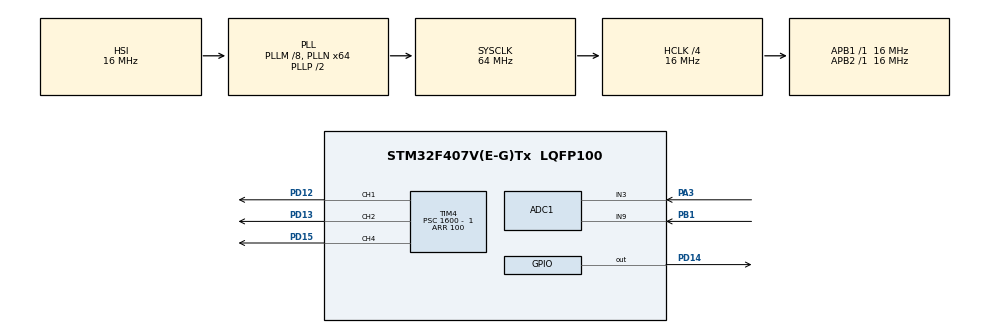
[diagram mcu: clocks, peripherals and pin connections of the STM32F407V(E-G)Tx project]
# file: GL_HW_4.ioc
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ADC1.Channel-0\#ChannelRegularConversion=ADC_CHANNEL_3
ADC1.Channel-5\#ChannelRegularConversion=ADC_CHANNEL_TEMPSENSOR
ADC1.Channel-6\#ChannelRegularConversion=ADC_CHANNEL_9
ADC1.ContinuousConvMode=ENABLE
ADC1.InjNumberOfConversion=0
ADC1.NbrOfConversion=3
ADC1.NbrOfConversionFlag=1
ADC1.Rank-0\#ChannelRegularConversion=1
ADC1.Rank-5\#ChannelRegularConversion=2
ADC1.Rank-6\#ChannelRegularConversion=3
ADC1.SamplingTime-0\#ChannelRegularConversion=ADC_SAMPLETIME_144CYCLES
ADC1.SamplingTime-5\#ChannelRegularConversion=ADC_SAMPLETIME_480CYCLES
ADC1.SamplingTime-6\#ChannelRegularConversion=ADC_SAMPLETIME_480CYCLES
ADC1.master=1
Mcu.Family=STM32F4
Mcu.Name=STM32F407V(E-G)Tx
Mcu.Package=LQFP100
NVIC.ADC_IRQn=true\:0\:0\:false\:false\:true\:true\:true\:true
NVIC.PriorityGroup=NVIC_PRIORITYGROUP_0
PA3.Signal=ADCx_IN3
PB1.Signal=ADCx_IN9
PD12.GPIO_PuPd=GPIO_PULLDOWN
PD12.Signal=S_TIM4_CH1
PD13.GPIO_PuPd=GPIO_PULLDOWN
PD13.Signal=S_TIM4_CH2
PD14.GPIO_PuPd=GPIO_PULLDOWN
PD14.Signal=GPIO_Output
PD15.GPIO_PuPd=GPIO_PULLDOWN
PD15.Signal=S_TIM4_CH4
ProjectManager.HeapSize=0x200
ProjectManager.StackSize=0x400
ProjectManager.TargetToolchain=STM32CubeIDE
RCC.48MHZClocksFreq_Value=18285714.285714287
RCC.AHBCLKDivider=RCC_SYSCLK_DIV4
RCC.AHBFreq_Value=16000000
RCC.APB1Freq_Value=16000000
RCC.APB1TimFreq_Value=16000000
RCC.APB2Freq_Value=16000000
RCC.APB2TimFreq_Value=16000000
RCC.CortexFreq_Value=16000000
RCC.HCLKFreq_Value=16000000
RCC.HSE_VALUE=8000000
RCC.HSI_VALUE=16000000
RCC.LSE_VALUE=32768
RCC.PLLM=8
RCC.PLLN=64
RCC.PLLQ=7
RCC.SYSCLKFreq_VALUE=64000000
RCC.SYSCLKSource=RCC_SYSCLKSOURCE_PLLCLK
RCC.VCOOutputFreq_Value=128000000
SH.ADCx_IN3.0=ADC1_IN3,IN3
SH.ADCx_IN9.0=ADC1_IN9,IN9
SH.S_TIM4_CH1.0=TIM4_CH1,PWM Generation1 CH1
SH.S_TIM4_CH2.0=TIM4_CH2,PWM Generation2 CH2
SH.S_TIM4_CH4.0=TIM4_CH4,PWM Generation4 CH4
TIM4.Channel-PWM\ Generation1\ CH1=TIM_CHANNEL_1
TIM4.Channel-PWM\ Generation2\ CH2=TIM_CHANNEL_2
TIM4.Channel-PWM\ Generation4\ CH4=TIM_CHANNEL_4
TIM4.Period=100
TIM4.Prescaler=1600 -  1
VP_ADC1_TempSens_Input.Mode=IN-TempSens
VP_TIM4_VS_ClockSourceINT.Mode=Internal
board=STM32F407G-DISC1

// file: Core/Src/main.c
/* USER CODE BEGIN Header */
/**
  ******************************************************************************
  * @file           : main.c
  * @brief          : Main program body
  ******************************************************************************
  * @attention
  *
  * Copyright (c) 2023 STMicroelectronics.
  * All rights reserved.
  *
  * This software is licensed under terms that can be found in the LICENSE file
  * in the root directory of this software component.
  * If no LICENSE file comes with this software, it is provided AS-IS.
  *
  ******************************************************************************
  */
/* USER CODE END Header */
#include "main.h"

/* USER CODE BEGIN Includes */
#define TIM4_CCR_MAX_VALUE 100
#define TIM4_CCR_MIN_VALUE 1
/* USER CODE END Includes */

ADC_HandleTypeDef hadc1;

TIM_HandleTypeDef htim4;

/* USER CODE BEGIN PV */
uint32_t adcPoolPotentiometerResult = 0;
uint32_t adcPotentiometerResult = 0;

uint32_t adcPoolInternalTempResult = 0;
uint32_t adcInternalTempResult = 0;

uint32_t adcPoolExternalTempResult = 0;
uint32_t adcExternalTempResult = 0;

uint32_t countOfEmergencies = 0;
uint32_t potentiometerEmergency = 0;
uint32_t internalTempEmergency = 0;
uint32_t externalTempEmergency = 0;
/* USER CODE END PV */

void SystemClock_Config(void);
static void MX_GPIO_Init(void);
static void MX_ADC1_Init(void);
static void MX_TIM4_Init(void);
/* USER CODE BEGIN PFP */
void Start_All_PWM_CH(void);
void Stop_All_PWM_CH(void);
void Check_For_Emergencies(void);
void Modify_All_Common_PWM_CH(void);
/* USER CODE END PFP */

int main(void)
{

  /* MCU Configuration--------------------------------------------------------*/

  /* Reset of all peripherals, Initializes the Flash interface and the Systick. */
  HAL_Init();

  /* Configure the system clock */
  SystemClock_Config();

  /* Initialize all configured peripherals */
  MX_GPIO_Init();
  MX_ADC1_Init();
  MX_TIM4_Init();
  /* USER CODE BEGIN 2 */
  HAL_TIM_PWM_Start(&htim4, TIM_CHANNEL_1);
  HAL_TIM_PWM_Start(&htim4, TIM_CHANNEL_2);
  HAL_TIM_PWM_Start(&htim4, TIM_CHANNEL_4);

  uint32_t currentTick = 0;
  uint32_t previousTickADC = 0;
  uint32_t previousTickEmergency = 0;
  uint32_t previousTickEmergencyLED = 0;
  /* USER CODE END 2 */

  /* Infinite loop */
  /* USER CODE BEGIN WHILE */
  while (1)
  {
	  currentTick = HAL_GetTick();

	  if (currentTick - previousTickADC >= 10)
	  {
		 HAL_ADC_Start_IT(&hadc1);
		 Modify_All_Common_PWM_CH();
		 previousTickADC = currentTick;
	  }

	  if (currentTick - previousTickEmergency >= 500)
	  {
		 Check_For_Emergencies();
		 previousTickEmergency = currentTick;
	  }

	  switch(countOfEmergencies)
	  {
	  	  case 1:
	  		  if (currentTick - previousTickEmergencyLED >= 1000)
	  		  {
	  			  HAL_GPIO_TogglePin(GPIOD, GPIO_PIN_14);
	  			  previousTickEmergencyLED = currentTick;
	  		  }
	  		  break;

	  	  case 2:
	  		  if (currentTick - previousTickEmergencyLED >= 400)
	  		  {
	  			  HAL_GPIO_TogglePin(GPIOD, GPIO_PIN_14);
	  			  previousTickEmergencyLED = currentTick;
	  		  }
	  		  break;

	  	  case 3:
	  		  if (currentTick - previousTickEmergencyLED >= 200)
	  		  {
	  			  HAL_GPIO_TogglePin(GPIOD, GPIO_PIN_14);
	  			  previousTickEmergencyLED = currentTick;
	  		  }
	  		  break;

	  	  default:
	  		HAL_GPIO_WritePin(GPIOD, GPIO_PIN_14, GPIO_PIN_RESET);
	  }

    /* USER CODE END WHILE */

  }
}

void SystemClock_Config(void)
{
  RCC_OscInitTypeDef RCC_OscInitStruct = {0};
  RCC_ClkInitTypeDef RCC_ClkInitStruct = {0};

  /** Configure the main internal regulator output voltage
  */
  __HAL_RCC_PWR_CLK_ENABLE();
  __HAL_PWR_VOLTAGESCALING_CONFIG(PWR_REGULATOR_VOLTAGE_SCALE1);

  /** Initializes the RCC Oscillators according to the specified parameters
  * in the RCC_OscInitTypeDef structure.
  */
  RCC_OscInitStruct.OscillatorType = RCC_OSCILLATORTYPE_HSI;
  RCC_OscInitStruct.HSIState = RCC_HSI_ON;
  RCC_OscInitStruct.HSICalibrationValue = RCC_HSICALIBRATION_DEFAULT;
  RCC_OscInitStruct.PLL.PLLState = RCC_PLL_ON;
  RCC_OscInitStruct.PLL.PLLSource = RCC_PLLSOURCE_HSI;
  RCC_OscInitStruct.PLL.PLLM = 8;
  RCC_OscInitStruct.PLL.PLLN = 64;
  RCC_OscInitStruct.PLL.PLLP = RCC_PLLP_DIV2;
  RCC_OscInitStruct.PLL.PLLQ = 7;
  if (HAL_RCC_OscConfig(&RCC_OscInitStruct) != HAL_OK)
  {
    Error_Handler();
  }

  /** Initializes the CPU, AHB and APB buses clocks
  */
  RCC_ClkInitStruct.ClockType = RCC_CLOCKTYPE_HCLK|RCC_CLOCKTYPE_SYSCLK
                              |RCC_CLOCKTYPE_PCLK1|RCC_CLOCKTYPE_PCLK2;
  RCC_ClkInitStruct.SYSCLKSource = RCC_SYSCLKSOURCE_PLLCLK;
  RCC_ClkInitStruct.AHBCLKDivider = RCC_SYSCLK_DIV4;
  RCC_ClkInitStruct.APB1CLKDivider = RCC_HCLK_DIV1;
  RCC_ClkInitStruct.APB2CLKDivider = RCC_HCLK_DIV1;

  if (HAL_RCC_ClockConfig(&RCC_ClkInitStruct, FLASH_LATENCY_0) != HAL_OK)
  {
    Error_Handler();
  }
}

static void MX_ADC1_Init(void)
{

  ADC_ChannelConfTypeDef sConfig = {0};

  /** Configure the global features of the ADC (Clock, Resolution, Data Alignment and number of conversion)
  */
  hadc1.Instance = ADC1;
  hadc1.Init.ClockPrescaler = ADC_CLOCK_SYNC_PCLK_DIV2;
  hadc1.Init.Resolution = ADC_RESOLUTION_12B;
  hadc1.Init.ScanConvMode = ENABLE;
  hadc1.Init.ContinuousConvMode = ENABLE;
  hadc1.Init.DiscontinuousConvMode = DISABLE;
  hadc1.Init.ExternalTrigConvEdge = ADC_EXTERNALTRIGCONVEDGE_NONE;
  hadc1.Init.ExternalTrigConv = ADC_SOFTWARE_START;
  hadc1.Init.DataAlign = ADC_DATAALIGN_RIGHT;
  hadc1.Init.NbrOfConversion = 3;
  hadc1.Init.DMAContinuousRequests = DISABLE;
  hadc1.Init.EOCSelection = ADC_EOC_SINGLE_CONV;
  if (HAL_ADC_Init(&hadc1) != HAL_OK)
  {
    Error_Handler();
  }

  /** Configure for the selected ADC regular channel its corresponding rank in the sequencer and its sample time.
  */
  sConfig.Channel = ADC_CHANNEL_3;
  sConfig.Rank = 1;
  sConfig.SamplingTime = ADC_SAMPLETIME_144CYCLES;
  if (HAL_ADC_ConfigChannel(&hadc1, &sConfig) != HAL_OK)
  {
    Error_Handler();
  }

  /** Configure for the selected ADC regular channel its corresponding rank in the sequencer and its sample time.
  */
  sConfig.Channel = ADC_CHANNEL_TEMPSENSOR;
  sConfig.Rank = 2;
  sConfig.SamplingTime = ADC_SAMPLETIME_480CYCLES;
  if (HAL_ADC_ConfigChannel(&hadc1, &sConfig) != HAL_OK)
  {
    Error_Handler();
  }

  /** Configure for the selected ADC regular channel its corresponding rank in the sequencer and its sample time.
  */
  sConfig.Channel = ADC_CHANNEL_9;
  sConfig.Rank = 3;
  if (HAL_ADC_ConfigChannel(&hadc1, &sConfig) != HAL_OK)
  {
    Error_Handler();
  }

}

static void MX_TIM4_Init(void)
{

  TIM_ClockConfigTypeDef sClockSourceConfig = {0};
  TIM_MasterConfigTypeDef sMasterConfig = {0};
  TIM_OC_InitTypeDef sConfigOC = {0};

  htim4.Instance = TIM4;
  htim4.Init.Prescaler = 1600 - 1;
  htim4.Init.CounterMode = TIM_COUNTERMODE_UP;
  htim4.Init.Period = 100;
  htim4.Init.ClockDivision = TIM_CLOCKDIVISION_DIV1;
  htim4.Init.AutoReloadPreload = TIM_AUTORELOAD_PRELOAD_DISABLE;
  if (HAL_TIM_Base_Init(&htim4) != HAL_OK)
  {
    Error_Handler();
  }
  sClockSourceConfig.ClockSource = TIM_CLOCKSOURCE_INTERNAL;
  if (HAL_TIM_ConfigClockSource(&htim4, &sClockSourceConfig) != HAL_OK)
  {
    Error_Handler();
  }
  if (HAL_TIM_PWM_Init(&htim4) != HAL_OK)
  {
    Error_Handler();
  }
  sMasterConfig.MasterOutputTrigger = TIM_TRGO_RESET;
  sMasterConfig.MasterSlaveMode = TIM_MASTERSLAVEMODE_DISABLE;
  if (HAL_TIMEx_MasterConfigSynchronization(&htim4, &sMasterConfig) != HAL_OK)
  {
    Error_Handler();
  }
  sConfigOC.OCMode = TIM_OCMODE_PWM1;
  sConfigOC.Pulse = 0;
  sConfigOC.OCPolarity = TIM_OCPOLARITY_HIGH;
  sConfigOC.OCFastMode = TIM_OCFAST_DISABLE;
  if (HAL_TIM_PWM_ConfigChannel(&htim4, &sConfigOC, TIM_CHANNEL_1) != HAL_OK)
  {
    Error_Handler();
  }
  if (HAL_TIM_PWM_ConfigChannel(&htim4, &sConfigOC, TIM_CHANNEL_2) != HAL_OK)
  {
    Error_Handler();
  }
  if (HAL_TIM_PWM_ConfigChannel(&htim4, &sConfigOC, TIM_CHANNEL_4) != HAL_OK)
  {
    Error_Handler();
  }
  HAL_TIM_MspPostInit(&htim4);

}

static void MX_GPIO_Init(void)
{
  GPIO_InitTypeDef GPIO_InitStruct = {0};

  /* GPIO Ports Clock Enable */
  __HAL_RCC_GPIOA_CLK_ENABLE();
  __HAL_RCC_GPIOB_CLK_ENABLE();
  __HAL_RCC_GPIOD_CLK_ENABLE();

  /*Configure GPIO pin Output Level */
  HAL_GPIO_WritePin(GPIOD, GPIO_PIN_14, GPIO_PIN_RESET);

  /*Configure GPIO pin : PD14 */
  GPIO_InitStruct.Pin = GPIO_PIN_14;
  GPIO_InitStruct.Mode = GPIO_MODE_OUTPUT_PP;
  GPIO_InitStruct.Pull = GPIO_PULLDOWN;
  GPIO_InitStruct.Speed = GPIO_SPEED_FREQ_LOW;
  HAL_GPIO_Init(GPIOD, &GPIO_InitStruct);

}

/* USER CODE BEGIN 4 */
void Start_All_PWM_CH(void)
{
	HAL_TIM_PWM_Start(&htim4, TIM_CHANNEL_1);
	HAL_TIM_PWM_Start(&htim4, TIM_CHANNEL_2);
	HAL_TIM_PWM_Start(&htim4, TIM_CHANNEL_4);
}

void Stop_All_PWM_CH(void)
{
	HAL_TIM_PWM_Stop(&htim4, TIM_CHANNEL_1);
	HAL_TIM_PWM_Stop(&htim4, TIM_CHANNEL_2);
	HAL_TIM_PWM_Stop(&htim4, TIM_CHANNEL_4);
}

void Check_For_Emergencies(void)
{
		// Checking Potentiometer value for possible emergency
		if (adcPotentiometerResult >= 2000)
		{
			if (countOfEmergencies < 3 && potentiometerEmergency == 0)
			{
				countOfEmergencies += 1;
				potentiometerEmergency = 1;
			}
		}
		else
		{
			if (countOfEmergencies > 0 && potentiometerEmergency == 1)
			{
				countOfEmergencies -= 1;
				potentiometerEmergency = 0;
			}
		}

		// Checking Potentiometer value for possible emergency
		if (adcInternalTempResult >= 1100)
		{
			if (countOfEmergencies < 3 && internalTempEmergency == 0)
			{
				countOfEmergencies += 1;
				internalTempEmergency = 1;
			}
		}
		else
		{
			if (countOfEmergencies > 0 && internalTempEmergency == 1)
			{
				countOfEmergencies -= 1;
				internalTempEmergency = 0;
			}
		}

		// Setting intensity for LED which is controlled by External Temperature Sensor. Checking for emergency
		if (adcExternalTempResult <= 1296)
		{
			if (countOfEmergencies < 3 && externalTempEmergency == 0)
			{
				countOfEmergencies += 1;
				externalTempEmergency = 1;
			}
		}
		else
		{
			if (countOfEmergencies > 0 && externalTempEmergency == 1)
			{
				countOfEmergencies -= 1;
				externalTempEmergency = 0;
			}
		}
}

void Modify_All_Common_PWM_CH(void)
{
	Stop_All_PWM_CH();
	Start_All_PWM_CH();

	// Setting intensity for LED which is controlled by Potentiometer. Checking for emergency
	TIM4->CCR4 = (adcPotentiometerResult * 100) / 4096;

	// Setting intensity for LED which is controlled by Internal Temperature Sensor. Checking for emergency
	if (adcInternalTempResult <= 1020)
	{
		TIM4->CCR2 = TIM4_CCR_MIN_VALUE;
	}
	else if (adcInternalTempResult >= 1100)
	{
		TIM4->CCR2 = TIM4_CCR_MAX_VALUE;
	}
	else
	{
		TIM4->CCR2 = ((adcInternalTempResult - 1020) * 100) / 100;
	}

	// Setting intensity for LED which is controlled by External Temperature Sensor. Checking for emergency
	if (adcExternalTempResult <= 1296)
	{
		TIM4->CCR1 = TIM4_CCR_MAX_VALUE;
	}
	else if (adcExternalTempResult >= 2296)
	{
		TIM4->CCR1 = TIM4_CCR_MIN_VALUE;
	}
	else
	{
		TIM4->CCR1 = 100 - (((adcExternalTempResult - 1296) * 100) / 1000);
	}
}

void HAL_ADC_ConvCpltCallback(ADC_HandleTypeDef* hadc)
{
	if(hadc->Instance == ADC1)
	{
		adcPoolPotentiometerResult = HAL_ADC_PollForConversion(&hadc1, 100);

		if(adcPoolPotentiometerResult == HAL_OK)
			adcPotentiometerResult = HAL_ADC_GetValue(&hadc1);

		adcPoolInternalTempResult = HAL_ADC_PollForConversion(&hadc1, 100);

		if(adcPoolInternalTempResult == HAL_OK)
			adcInternalTempResult = HAL_ADC_GetValue(&hadc1);

		adcPoolExternalTempResult = HAL_ADC_PollForConversion(&hadc1, 100);

		if(adcPoolExternalTempResult == HAL_OK)
			adcExternalTempResult = HAL_ADC_GetValue(&hadc1);
	}
	HAL_ADC_Stop_IT(&hadc1);
}
/* USER CODE END 4 */

void Error_Handler(void)
{
  __disable_irq();
  while (1)
  {
  }
}
